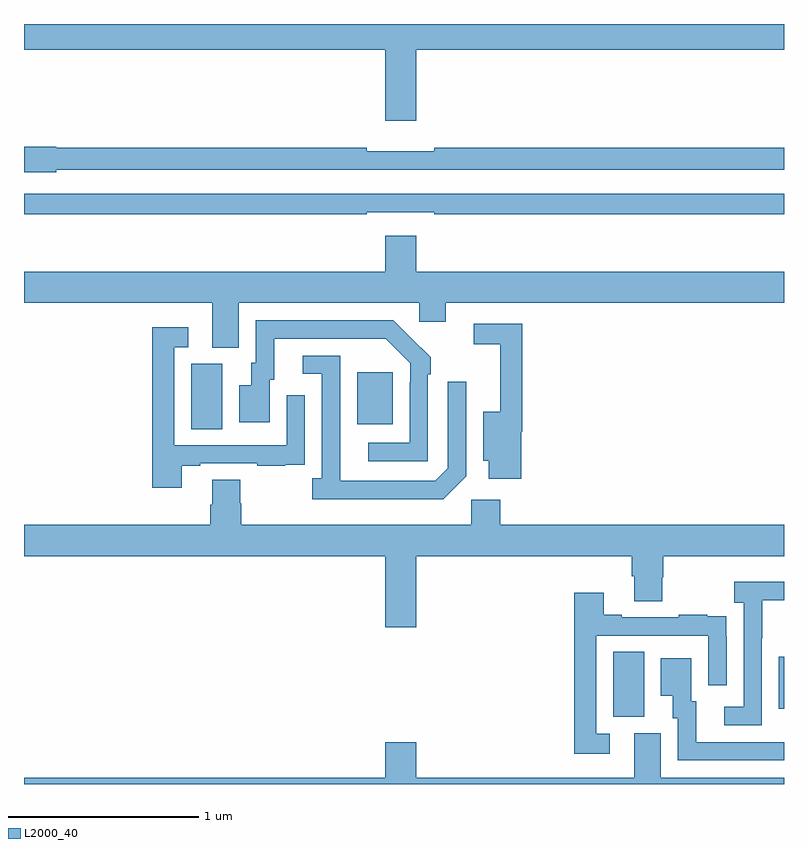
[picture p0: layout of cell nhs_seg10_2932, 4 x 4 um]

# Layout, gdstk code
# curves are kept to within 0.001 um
import gdstk
lib = gdstk.Library(unit=1e-6, precision=1e-09)
def R(c, l, rs):  # rectangles x0, y0, x1, y1
    for r in rs: c.add(gdstk.rectangle(r[:2], r[2:], *l))
def P(c, l, *ps):  # polygons
    for p in ps: c.add(gdstk.Polygon(p, *l))
L2000_40 = (2000, 40)

nhs_seg10_2932 = lib.new_cell('nhs_seg10_2932')
R(nhs_seg10_2932, L2000_40, [(274.1,1248.853,274.264,1249.196), (274.973,1248.897,275,1249.171), (271.88,1250.368,272.044,1250.712), (272.753,1250.393,272.941,1250.668)])
P(nhs_seg10_2932, L2000_40, [(273.064,1252.364),(275,1252.364),(275,1252.5),(271,1252.5),(271,1252.364),(272.9,1252.364),(272.9,1251.99),(273.064,1251.99)],
  [(271.17,1251.732),(275,1251.732),(275,1251.848),(273.16,1251.848),(273.16,1251.829),(272.804,1251.829),(272.804,1251.848),(271.17,1251.848),(271.17,1251.854),(271,1251.854),(271,1251.719),(271.17,1251.719)],
  [(272.804,1251.51),(273.16,1251.51),(273.16,1251.498),(275,1251.498),(275,1251.606),(271,1251.606),(271,1251.498),(272.804,1251.498)],
  [(272.131,1251.032),(273.081,1251.032),(273.081,1250.934),(273.22,1250.934),(273.22,1251.032),(275,1251.032),(275,1251.196),(273.064,1251.196),(273.064,1251.385),(272.9,1251.385),(272.9,1251.196),(271,1251.196),(271,1251.032),(271.991,1251.032),(271.991,1250.797),(272.131,1250.797)],
  [(273.126,1250.657),(273.141,1250.657),(273.141,1250.745),(272.944,1250.94),(272.22,1250.94),(272.22,1250.718),(272.195,1250.718),(272.195,1250.599),(272.132,1250.599),(272.132,1250.403),(272.293,1250.403),(272.293,1250.628),(272.317,1250.628),(272.317,1250.844),(272.905,1250.844),(273.033,1250.715),(273.033,1250.615),(273.03,1250.615),(273.03,1250.295),(272.811,1250.295),(272.811,1250.199),(273.126,1250.199)],
  [(273.617,1250.354),(273.623,1250.354),(273.623,1250.922),(273.366,1250.922),(273.366,1250.814),(273.506,1250.814),(273.506,1250.458),(273.416,1250.458),(273.416,1250.201),(273.446,1250.201),(273.446,1250.106),(273.617,1250.106)],
  [(271.831,1250.175),(271.927,1250.175),(271.927,1250.187),(272.227,1250.187),(272.227,1250.175),(272.375,1250.175),(272.375,1250.181),(272.477,1250.181),(272.477,1250.29),(272.478,1250.29),(272.478,1250.545),(272.382,1250.545),(272.382,1250.283),(271.791,1250.283),(271.791,1250.799),(271.864,1250.799),(271.864,1250.905),(271.675,1250.905),(271.675,1250.058),(271.831,1250.058)],
  [(273.327,1250.121),(273.327,1250.617),(273.231,1250.617),(273.231,1250.163),(273.165,1250.097),(272.665,1250.097),(272.664,1250.754),(272.466,1250.754),(272.466,1250.658),(272.568,1250.658),(272.568,1250.11),(272.517,1250.11),(272.517,1250),(273.206,1250)],
  [(273.064,1249.7),(274.199,1249.7),(274.199,1249.594),(274.211,1249.594),(274.211,1249.462),(274.359,1249.462),(274.359,1249.587),(274.364,1249.587),(274.364,1249.7),(275,1249.7),(275,1249.864),(273.506,1249.864),(273.506,1249.996),(273.354,1249.996),(273.354,1249.864),(272.144,1249.864),(272.144,1249.977),(272.139,1249.977),(272.139,1250.102),(271.991,1250.102),(271.991,1249.97),(271.979,1249.97),(271.979,1249.864),(271,1249.864),(271,1249.7),(272.9,1249.7),(272.9,1249.326),(273.064,1249.326)],
  [(274.884,1249.267),(274.885,1249.267),(274.885,1249.467),(275,1249.467),(275,1249.564),(274.737,1249.564),(274.737,1249.454),(274.788,1249.454),(274.788,1248.906),(274.686,1248.906),(274.686,1248.81),(274.884,1248.81)],
  [(274.084,1248.765),(274.011,1248.765),(274.011,1249.281),(274.602,1249.281),(274.602,1249.02),(274.698,1249.02),(274.698,1249.274),(274.697,1249.274),(274.697,1249.383),(274.595,1249.383),(274.595,1249.39),(274.447,1249.39),(274.447,1249.377),(274.147,1249.377),(274.147,1249.39),(274.051,1249.39),(274.051,1249.507),(273.895,1249.507),(273.895,1248.66),(274.084,1248.66)],
  [(275,1248.72),(274.537,1248.72),(274.537,1248.936),(274.513,1248.936),(274.513,1249.162),(274.352,1249.162),(274.352,1248.965),(274.415,1248.965),(274.415,1248.846),(274.44,1248.846),(274.44,1248.624),(275,1248.624)],
  [(275,1248.532),(274.351,1248.532),(274.351,1248.768),(274.211,1248.768),(274.211,1248.532),(273.064,1248.532),(273.064,1248.721),(272.9,1248.721),(272.9,1248.532),(271,1248.532),(271,1248.5),(275,1248.5)])

lib.write_gds('nhs_seg10_2932.gds')
